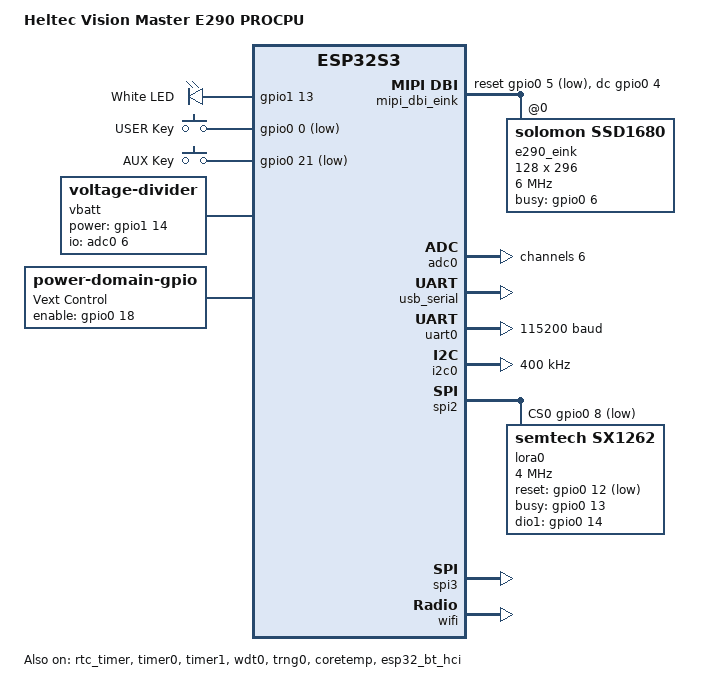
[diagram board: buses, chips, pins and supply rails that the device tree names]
/*
 * Heltec Vision Master E290 (HT-VME290) — PROCPU.
 * ESP32-S3R8 (8 MB octal PSRAM) + SX1262 + 2.9" B/W E-Ink (296x128).
 *
 * A "Vision Master" board is structurally a cross of the other Heltecs:
 *   - SoC        : ESP32-S3R8, octal PSRAM        (like the V4-R8)
 *   - radio      : BARE SX1262, no FEM, 21 dBm    (like the V3, NOT the V4)
 *   - display    : SSD1680-class e-ink on its own SPI  (new; not the OLED)
 *   - GNSS       : none on the standard E290       (a separate V0.4.1 rev adds it)
 *   - console    : native USB-Serial-JTAG, no CP2102 (like the V4)
 *
 * Pins verified against the Meshtastic reference variant
 * (firmware/variants/esp32s3/heltec_vision_master_e290/) and the Heltec factory
 * test; the two agree pin-for-pin.
 *
 * FLASH SIZE: 16 MB (measured; see the flash0 node below). Meshtastic's own build
 * treats the board as 8 MB, which is wrong for the hardware.
 *
 * The display + several pins are VERIFY(hardware) — this is a bring-up
 * scaffold; e-ink orientation/offset can only be confirmed on a real panel.
 *
 * SPDX-License-Identifier: Apache-2.0
 */
/dts-v1/;

#include <espressif/esp32s3/esp32s3.dtsi>
#include "heltec_vision_master_e290-pinctrl.dtsi"
#include <zephyr/dt-bindings/lora/sx126x.h>
#include <zephyr/dt-bindings/input/input-event-codes.h>
#include <zephyr/dt-bindings/adc/adc.h>
#include "../heltec_wifi_lora32_v4/heltec_partitions_16M.dtsi"

/*
 * The module's two facts, stated by the board rather than inherited from a
 * per-module dtsi (upstream Zephyr 8094e61, 2026-08-23, deleted
 * espressif/esp32s3/esp32s3_wroom_n8r8.dtsi and its siblings, as it did for
 * the V4 boards). PSRAM mode and speed live in Kconfig.defconfig.
 * Flash is 16 MB, measured 2026-10-05 (`esptool flash-id`: Winbond ef/4018) and given by the
 * schematic's W25Q128 and the datasheet (Rev 0.3.1 "fixed flash size"). Stock Meshtastic uses
 * only the first 8 MB, which is where this file's earlier 8 MB came from. The board therefore
 * takes the shared 16 MB Heltec map (heltec_partitions_16M.dtsi), like the V4s.
 */
&flash0 {
	reg = <0x0 DT_SIZE_M(16)>;
	ranges = <0x0 0x0 DT_SIZE_M(16)>;
};

&psram0 {
	size = <DT_SIZE_M(8)>;
};

/ {
	model = "Heltec Vision Master E290 PROCPU";
	compatible = "espressif,esp32s3";

	aliases {
		led0 = &led0;
		uart-0 = &uart0;
		i2c-0 = &i2c0;
		lora0 = &lora0;
		sw0 = &button0;
		watchdog0 = &wdt0;
		die-temp0 = &coretemp;
	};

	leds {
		compatible = "gpio-leds";

		/* GPIO45. "Not populated on the earliest board variant" (variant.h). */
		led0: led {
			gpios = <&gpio1 13 GPIO_ACTIVE_HIGH>;	/* GPIO45 */
			label = "White LED";
		};
	};

	buttons {
		compatible = "gpio-keys";

		/* Main PRG/BOOT button (also the wake button). */
		button0: button_0 {
			gpios = <&gpio0 0 (GPIO_PULL_UP | GPIO_ACTIVE_LOW)>;
			label = "USER Key";
			zephyr,code = <INPUT_KEY_0>;
		};

		/* Second built-in button (InkHUD "next tile" on Meshtastic).
		 * GPIO21 has an external 10k pull-up to 3V3 (schematic V0.3.1, R21). */
		button1: button_1 {
			gpios = <&gpio0 21 (GPIO_PULL_UP | GPIO_ACTIVE_LOW)>;
			label = "AUX Key";
			zephyr,code = <INPUT_KEY_1>;
		};
	};

	/*
	 * Battery sense: plain resistor divider on GPIO7 (VBAT_Read, schematic V0.3.1), no
	 * fuel-gauge IC. R13 390k over R15 100k = 4.9, gated by ADC_Ctrl (GPIO46, active-HIGH):
	 * the pin drives Q3 (S9013 NPN) through R11 1k, which pulls Q2's (AO3401 P-FET) gate
	 * down to connect VBAT to the divider.
	 *
	 * Two things learned from the V4 files (see heltec_wifi_lora32_v4-common.dtsi):
	 *  - The io-channel is `adc0`, NOT `adc1`: esp32s3_common.dtsi names its controllers by
	 *    index, so `adc0` is hardware ADC1 (GPIO1-10) and `adc1` is hardware ADC2 (GPIO11-20).
	 *    `&adc1 6` is GPIO17, a free header pin: it builds and reads garbage.
	 *  - The gate is the divider's own `power-gpios`, not a `power-domain-gpio` device. A
	 *    power domain is driven on at init and nothing turns it off again, which holds Q3's
	 *    base current (about 2.6 mA through R11) for the whole boot. With `power-gpios`
	 *    nothing drives the pin until the divider is sampled.
	 */
	vbatt: vbatt {
		compatible = "voltage-divider";
		io-channels = <&adc0 6>;
		output-ohms = <100000>;
		full-ohms = <(100000 + 390000)>;
		power-gpios = <&gpio1 14 GPIO_ACTIVE_HIGH>;	/* GPIO46, ADC_CTRL_ENABLED=HIGH */
	};

	/*
	 * Vext (GPIO18, active-HIGH — note: the OPPOSITE polarity to V3/V4, which are
	 * active-low). Powers the E-Ink panel only (the switched Vc_3V3 rail; QuickLink is on the always-on 3V3). The
	 * power-domain-gpio driver drives it to its active level at init, so the panel
	 * is powered at boot without an app write (needs CONFIG_POWER_DOMAIN[_GPIO],
	 * forced on in Kconfig.defconfig). Do NOT trust the vendor wiki FAQ's
	 * "GPIO21 active-low" note — that is a generic ESP32 page, wrong for the E290.
	 */
	vext_ctrl: vext_ctrl {
		compatible = "power-domain-gpio";
		enable-gpios = <&gpio0 18 GPIO_ACTIVE_HIGH>;	/* GPIO18, VEXT_ON_VALUE=HIGH */
		#power-domain-cells = <0>;
		label = "Vext Control";
	};

	chosen {
		zephyr,sram = &sram1;
		zephyr,console = &usb_serial;
		zephyr,shell-uart = &usb_serial;
		zephyr,flash = &flash0;
		zephyr,code-partition = &slot0_partition;
		zephyr,bt-hci = &esp32_bt_hci;
		zephyr,display = &e290_eink;
	};

	/*
	 * E-Ink is on SPI3 through a MIPI-DBI shim (the Zephyr ssd16xx driver is a
	 * MIPI-DBI device). The DEPG0290BNS800 panel is an SSD1680-class controller;
	 * its full-refresh waveform comes from the controller's OTP, so no manual LUT
	 * is needed (empty `full`/`partial` profiles — `partial` present so partial
	 * refresh is enabled using the OTP defaults).
	 */
	mipi_dbi_eink: mipi-dbi {
		compatible = "zephyr,mipi-dbi-spi";
		spi-dev = <&spi3>;
		dc-gpios = <&gpio0 4 GPIO_ACTIVE_HIGH>;		/* PIN_EINK_DC = GPIO4 */
		reset-gpios = <&gpio0 5 GPIO_ACTIVE_LOW>;	/* PIN_EINK_RES = GPIO5 */
		#address-cells = <1>;
		#size-cells = <0>;

		e290_eink: ssd16xxfb@0 {
			compatible = "solomon,ssd1680";
			mipi-max-frequency = <6000000>;
			reg = <0>;
			/*
			 * Native panel geometry is 128(W) x 296(H) portrait. The board is
			 * used landscape (296x128); rotation is applied here.
			 * VERIFY(hardware): orientation and the 1-byte X RAM offset the
			 * Meshtastic driver applies (DEPG0290BNS800: bufferOffsetX=1) — an
			 * 8-px horizontal shift is the symptom if it is needed and missing.
			 */
			width = <128>;
			height = <296>;
			rotation = <90>;
			busy-gpios = <&gpio0 6 GPIO_ACTIVE_HIGH>;	/* PIN_EINK_BUSY = GPIO6, active-high */
			power-domains = <&vext_ctrl>;

			full {
			};

			partial {
			};
		};
	};
};

/* Hardware ADC1 (GPIO1-10): the VBAT divider on GPIO7 is channel 6. Meshtastic reads it at
 * 2.5 dB attenuation (variant.h ADC_ATTENUATION), which is Zephyr's ADC_GAIN_4_5. */
&adc0 {
	status = "okay";
	#address-cells = <1>;
	#size-cells = <0>;

	channel@6 {
		reg = <6>;
		zephyr,gain = "ADC_GAIN_4_5";
		zephyr,reference = "ADC_REF_INTERNAL";
		zephyr,acquisition-time = <ADC_ACQ_TIME_DEFAULT>;
		zephyr,resolution = <12>;
	};
};

/* Native USB console/shell (no CP2102 on this board). */
&usb_serial {
	status = "okay";
};

/* Header-pin UART (console goes over native USB above). */
&uart0 {
	status = "okay";
	current-speed = <115200>;
	pinctrl-0 = <&uart0_default>;
	pinctrl-names = "default";
};

&gpio0 {
	status = "okay";
};

&gpio1 {
	status = "okay";
};

/* QuickLink SH1.0-4P sensor connector (always-on 3V3; Vext does not power it). No sensors by default. */
&i2c0 {
	status = "okay";
	clock-frequency = <I2C_BITRATE_FAST>;
	pinctrl-0 = <&i2c0_default>;
	pinctrl-names = "default";
};

/* LoRa SX1262 — bare radio, no FEM. Identical digital wiring to the V3/V4. */
&spi2 {
	#address-cells = <1>;
	#size-cells = <0>;
	status = "okay";
	pinctrl-0 = <&spim2_default>;
	pinctrl-names = "default";

	cs-gpios = <&gpio0 8 GPIO_ACTIVE_LOW>;

	lora0: modem@0 {
		compatible = "semtech,sx1262";
		reg = <0>;
		reset-gpios = <&gpio0 12 (GPIO_OPEN_DRAIN | GPIO_ACTIVE_LOW)>;
		busy-gpios = <&gpio0 13 GPIO_ACTIVE_HIGH>;
		dio1-gpios = <&gpio0 14 GPIO_ACTIVE_HIGH>;
		dio2-tx-enable;
		dio3-tcxo-voltage = <SX126X_DIO3_TCXO_1V8>;
		tcxo-power-startup-delay-ms = <5>;
		spi-max-frequency = <4000000>;
		rx-boosted;
	};
};

/* E-Ink SPI bus (SPI3). CS is the panel select; the MIPI-DBI shim above drives it. */
&spi3 {
	#address-cells = <1>;
	#size-cells = <0>;
	status = "okay";
	pinctrl-0 = <&spim3_default>;
	pinctrl-names = "default";

	cs-gpios = <&gpio0 3 GPIO_ACTIVE_LOW>;			/* PIN_EINK_CS = GPIO3 */
};

/*
 * Power management: make the board CAPABLE of light sleep (same pattern as the
 * V4). Inert unless the application sets CONFIG_PM. The rtc_timer is the wake
 * clock Zephyr's PM path requires; gpio0 carries both buttons (GPIO0/GPIO21) and
 * the SX1262 DIO1 (GPIO14); lora0 stays powered so the node keeps hearing the
 * mesh across a sleep. See ~/lab/meshprojects/ZEPHYR-POWER-PRIMER.md.
 */
&rtc_timer {
	status = "okay";
	wakeup-source;
};

&gpio0 {
	wakeup-source;
};

&lora0 {
	wakeup-source;
};

&timer0 {
	status = "okay";
};

&timer1 {
	status = "okay";
};

&wdt0 {
	status = "okay";
};

&trng0 {
	status = "okay";
};

&coretemp {
	status = "okay";
};

&esp32_bt_hci {
	status = "okay";
};

&wifi {
	status = "okay";
};
